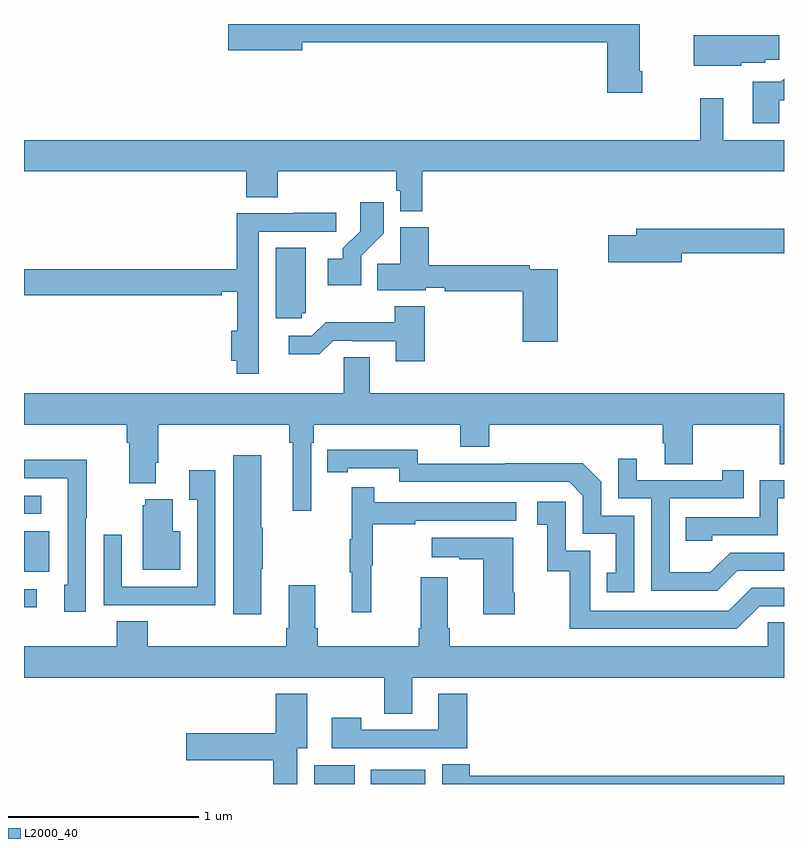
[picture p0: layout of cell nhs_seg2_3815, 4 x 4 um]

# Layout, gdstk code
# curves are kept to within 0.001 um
import gdstk
lib = gdstk.Library(unit=1e-6, precision=1e-09)
def R(c, l, rs):  # rectangles x0, y0, x1, y1
    for r in rs: c.add(gdstk.rectangle(r[:2], r[2:], *l))
def P(c, l, *ps):  # polygons
    for p in ps: c.add(gdstk.Polygon(p, *l))
L2000_40 = (2000, 40)

nhs_seg2_3815 = lib.new_cell('nhs_seg2_3815')
R(nhs_seg2_3815, L2000_40, [(314.528,589.8,314.74,589.9), (314.825,589.8,315.112,589.876), (313,590.729,313.066,590.826), (313,590.918,313.132,591.13), (313,591.222,313.09,591.318)])
P(nhs_seg2_3815, L2000_40, [(316.253,593.551),(316.24,593.551),(316.24,593.8),(314.076,593.8),(314.076,593.662),(314.464,593.662),(314.464,593.704),(316.07,593.704),(316.07,593.439),(316.253,593.439)],
  [(316.776,593.597),(316.902,593.597),(316.902,593.611),(316.975,593.611),(316.975,593.74),(316.526,593.74),(316.526,593.579),(316.776,593.579)],
  [(316.975,593.399),(317,593.399),(317,593.513),(316.983,593.496),(316.835,593.496),(316.835,593.277),(316.975,593.277)],
  [(315.095,593.024),(317,593.024),(317,593.188),(316.681,593.188),(316.681,593.41),(316.56,593.41),(316.56,593.188),(313,593.188),(313,593.024),(314.171,593.024),(314.171,592.888),(314.336,592.888),(314.336,593.024),(314.959,593.024),(314.959,592.923),(314.979,592.923),(314.979,592.814),(315.095,592.814)],
  [(314.775,592.579),(314.894,592.698),(314.894,592.861),(314.769,592.861),(314.769,592.709),(314.678,592.619),(314.678,592.564),(314.598,592.564),(314.598,592.424),(314.775,592.424)],
  [(314.236,592.182),(314.235,592.182),(314.235,592.707),(314.644,592.707),(314.644,592.806),(314.419,592.806),(314.419,592.803),(314.119,592.803),(314.119,592.508),(313,592.508),(313,592.372),(314.042,592.372),(314.042,592.391),(314.123,592.391),(314.123,592.186),(314.09,592.186),(314.09,592.028),(314.119,592.028),(314.119,591.96),(314.236,591.96)],
  [(315.809,592.509),(315.662,592.509),(315.662,592.529),(315.131,592.529),(315.131,592.729),(314.981,592.729),(314.981,592.538),(314.86,592.538),(314.86,592.4),(315.114,592.4),(315.114,592.413),(315.214,592.413),(315.214,592.393),(315.626,592.393),(315.626,592.128),(315.809,592.128)],
  [(316.462,592.594),(317,592.594),(317,592.723),(316.223,592.723),(316.223,592.689),(316.074,592.689),(316.074,592.547),(316.462,592.547)],
  [(314.463,592.278),(314.482,592.278),(314.482,592.622),(314.324,592.622),(314.324,592.251),(314.463,592.251)],
  [(315.11,592.315),(314.95,592.315),(314.95,592.231),(314.587,592.231),(314.514,592.158),(314.394,592.158),(314.394,592.061),(314.555,592.061),(314.628,592.134),(314.728,592.134),(314.728,592.131),(314.957,592.131),(314.957,592.026),(315.11,592.026)],
  [(314.511,591.596),(314.525,591.596),(314.525,591.692),(315.296,591.692),(315.296,591.575),(315.449,591.575),(315.449,591.692),(316.361,591.692),(316.361,591.594),(316.373,591.594),(316.373,591.484),(316.521,591.484),(316.521,591.692),(316.978,591.692),(316.978,591.484),(317,591.484),(317,591.856),(314.821,591.856),(314.821,592.046),(314.682,592.046),(314.682,591.856),(313,591.856),(313,591.692),(313.541,591.692),(313.541,591.596),(313.553,591.596),(313.553,591.383),(313.693,591.383),(313.693,591.49),(313.706,591.49),(313.706,591.692),(314.395,591.692),(314.395,591.596),(314.414,591.596),(314.414,591.237),(314.511,591.237)],
  [(316.212,591.213),(316.038,591.213),(316.038,591.39),(315.94,591.488),(315.532,591.488),(315.532,591.486),(315.072,591.486),(315.072,591.559),(314.596,591.558),(314.596,591.442),(314.704,591.442),(314.704,591.462),(314.976,591.462),(314.976,591.39),(315.87,591.39),(315.942,591.318),(315.942,591.117),(316.115,591.117),(316.115,590.913),(316.066,590.913),(316.066,590.808),(316.212,590.808)],
  [(314.248,590.932),(314.256,590.932),(314.256,591.149),(314.248,591.149),(314.248,591.529),(314.102,591.529),(314.102,590.694),(314.248,590.694)],
  [(316.753,590.922),(317,590.922),(317,591.018),(316.716,591.018),(316.612,590.914),(316.398,590.914),(316.398,591.303),(316.787,591.303),(316.787,591.451),(316.676,591.451),(316.676,591.399),(316.225,591.399),(316.225,591.511),(316.128,591.511),(316.128,591.303),(316.302,591.303),(316.302,590.817),(316.648,590.817)],
  [(313.326,591.199),(313.329,591.199),(313.329,591.506),(313,591.506),(313,591.408),(313.229,591.408),(313.229,591.154),(313.23,591.154),(313.23,590.85),(313.211,590.85),(313.211,590.706),(313.326,590.706)],
  [(314.007,591.451),(313.871,591.451),(313.871,591.295),(313.911,591.295),(313.911,590.838),(313.515,590.838),(313.515,591.112),(313.419,591.112),(313.419,590.742),(313.735,590.742),(313.735,590.741),(314.007,590.741)],
  [(316.623,591.108),(316.968,591.108),(316.968,591.303),(317,591.303),(317,591.399),(316.872,591.399),(316.872,591.204),(316.483,591.204),(316.483,591.081),(316.623,591.081)],
  [(314.828,590.952),(314.836,590.952),(314.836,591.166),(315.059,591.166),(315.059,591.186),(315.592,591.186),(315.592,591.282),(314.843,591.282),(314.843,591.361),(314.726,591.361),(314.726,591.089),(314.715,591.089),(314.715,590.915),(314.726,590.915),(314.726,590.703),(314.828,590.703)],
  [(313.822,591.13),(313.783,591.13),(313.783,591.298),(313.637,591.298),(313.637,591.267),(313.625,591.267),(313.625,590.927),(313.822,590.927)],
  [(316.872,590.736),(317,590.736),(317,590.832),(316.83,590.832),(316.71,590.712),(315.981,590.712),(315.981,591.027),(315.852,591.027),(315.852,591.286),(315.702,591.286),(315.702,591.165),(315.755,591.165),(315.755,590.919),(315.873,590.919),(315.873,590.616),(316.752,590.616)],
  [(315.582,590.806),(315.574,590.806),(315.574,591.097),(315.147,591.097),(315.147,590.993),(315.29,590.993),(315.29,590.983),(315.416,590.983),(315.416,590.694),(315.582,590.694)],
  [(315.043,590.36),(317,590.36),(317,590.651),(316.914,590.651),(316.914,590.524),(315.242,590.524),(315.242,590.62),(315.229,590.62),(315.229,590.887),(315.089,590.887),(315.089,590.62),(315.077,590.62),(315.077,590.524),(314.546,590.524),(314.546,590.62),(314.533,590.62),(314.533,590.845),(314.393,590.845),(314.393,590.62),(314.381,590.62),(314.381,590.524),(313.652,590.524),(313.652,590.657),(313.487,590.657),(313.487,590.524),(313,590.524),(313,590.36),(314.896,590.36),(314.896,590.17),(315.043,590.17)],
  [(315.332,590.275),(315.179,590.275),(315.179,590.085),(314.775,590.085),(314.775,590.149),(314.619,590.149),(314.619,589.989),(315.332,589.989)],
  [(314.437,589.988),(314.491,589.988),(314.491,590.275),(314.324,590.275),(314.324,590.067),(313.854,590.067),(313.854,589.925),(314.312,589.925),(314.312,589.8),(314.437,589.8)],
  [(317,589.844),(315.347,589.844),(315.347,589.904),(315.2,589.904),(315.2,589.8),(317,589.8)])

lib.write_gds('nhs_seg2_3815.gds')
